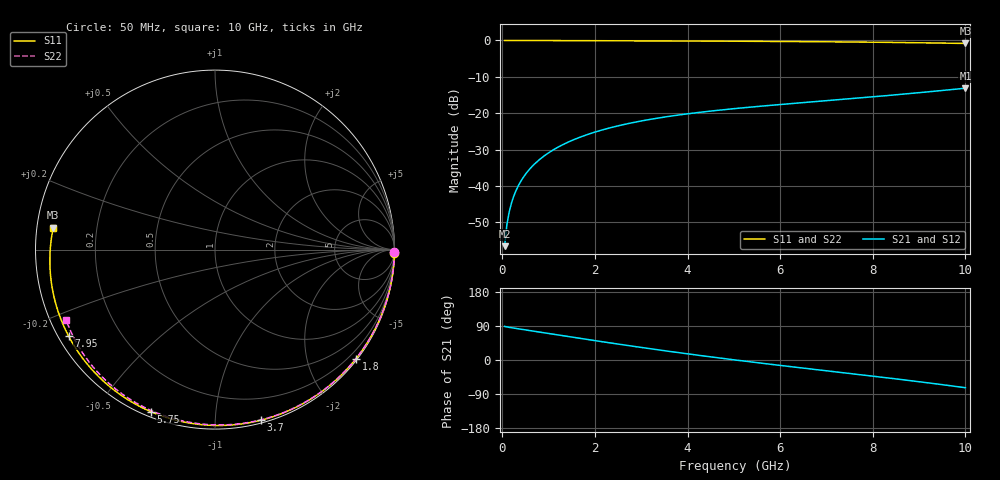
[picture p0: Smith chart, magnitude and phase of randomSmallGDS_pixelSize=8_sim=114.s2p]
! freq	dB(S11)	phase(S11)	dB(S12)	phase(S12)
!  dB(S21)	phase(S21)	dB(S22)	phase(S22)
!S-par simulation data
#  GHz  S  DB  R 50
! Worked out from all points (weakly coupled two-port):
!   200 points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, 50 MHz to 10 GHz, reference 50 ohm
!   highest |S21| = -13.12 dB at 10 GHz (marker M1); lowest = -56.5 dB at 50 MHz (marker M2)
!   lowest |S11| = -0.8 dB at 10 GHz (marker M3), VSWR 21.04, Z = 2.39 + j3.36 ohm
!   |S11| at or under -10 dB: nowhere
!   |S22| runs from -0.8 to 0.0 dB; largest |S21 - S12| = 0
!   S11 on the Smith chart (normalised r, x): 50 MHz: open; 1.8 GHz: 0.03, -2.93; 3.7 GHz: 0.02, -1.31; 5.75 GHz: 0.02, -0.68; 7.95 GHz: 0.03, -0.27; 10 GHz: 0.05, +0.07
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0.05  -0.00 -1.1  -56.50 88.6  -56.50 88.6  -0.00 -0.9
0.1  -0.00 -2.1  -50.53 87.3  -50.53 87.3  -0.00 -1.8
0.15  -0.00 -3.2  -47.05 86.1  -47.05 86.1  -0.00 -2.7
0.2  -0.00 -4.3  -44.59 85.1  -44.59 85.1  -0.00 -3.7
0.35  -0.01 -7.5  -39.82 82.3  -39.82 82.3  -0.01 -6.4
0.5  -0.01 -10.7  -36.77 79.5  -36.77 79.5  -0.01 -9.1
0.7  -0.02 -14.9  -33.89 75.7  -33.89 75.7  -0.02 -12.7
1  -0.03 -21.2  -30.86 70.0  -30.86 70.0  -0.03 -18.1
1.35  -0.04 -28.4  -28.35 63.3  -28.35 63.3  -0.04 -24.3
1.75  -0.06 -36.7  -26.23 55.8  -26.23 55.8  -0.05 -31.4
1.8  -0.06 -37.7  -26.01 54.9  -26.01 54.9  -0.05 -32.3
2.6  -0.09 -53.7  -23.16 40.2  -23.16 40.2  -0.08 -46.0
3.4  -0.12 -69.2  -21.24 26.2  -21.24 26.2  -0.11 -59.4
3.7  -0.14 -74.8  -20.67 21.2  -20.67 21.2  -0.12 -64.2
4.35  -0.17 -86.8  -19.61 10.6  -19.61 10.6  -0.15 -74.5
5.05  -0.21 -99.4  -18.68 -0.3  -18.68 -0.3  -0.19 -85.3
5.75  -0.25 -111.6  -17.87 -10.7  -17.87 -10.7  -0.23 -95.7
6.7  -0.33 -127.9  -16.86 -24.3  -16.86 -24.3  -0.30 -109.3
7.95  -0.47 -149.5  -15.54 -41.9  -15.54 -41.9  -0.42 -126.6
8.35  -0.52 -156.5  -15.09 -47.6  -15.09 -47.6  -0.47 -132.1
9.2  -0.66 -172.1  -14.11 -60.3  -14.11 -60.3  -0.60 -143.7
10  -0.83 172.3  -13.12 -73.2  -13.12 -73.2  -0.75 -154.8
